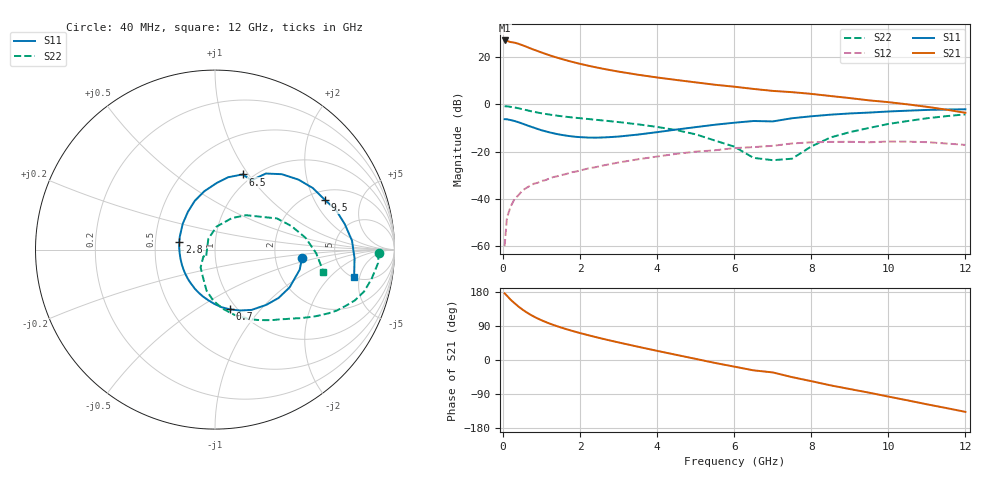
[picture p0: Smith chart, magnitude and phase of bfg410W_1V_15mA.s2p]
! Filename: 115bfg410.001
! BFG410W Field B1
! V1=9.003E-001V,V2=1.000E+000V, I1=2.653E-004A, I2=1.499E-002A
# GHz  S  MA  R 50
!  S11  S21  S12  S22
!Freq(GHz)  Mag  Ang  Mag  Ang  Mag  Ang  Mag  Ang
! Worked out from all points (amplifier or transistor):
!   44 points, 40 MHz to 12 GHz, reference 50 ohm
!   highest |S21| = 27.1 dB at 40 MHz (marker M1)
!   |S21| within 3 dB of that: start of sweep to 656.5 MHz
!   unconditionally stable (mu >= 1): start of sweep to 81.03 MHz; 1.074 GHz to end of sweep
!   at 700 MHz: K = 0.78, MSG = 29.1 dB, |S12| = -34.4 dB
!   at 2.4 GHz: K = 1.35, MAG = 17.6 dB, |S12| = -26.6 dB
!   at 12 GHz: K = 1.65, MAG = 2.1 dB, |S12| = -17.1 dB
!   S11 on the Smith chart (normalised r, x): 40 MHz: 2.85, -0.33; 700 MHz: 0.93, -0.70; 2.8 GHz: 0.67, +0.06; 6.5 GHz: 0.90, +0.94; 9.5 GHz: 2.42, +2.44; 12 GHz: 5.09, -4.13
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0.04  0.487 -5.2  22.59 176.0  0.001 74.1  0.912 -1.0
0.1  0.485 -13.3  22.09 169.7  0.004 84.5  0.912 -4.6
0.2  0.466 -26.8  20.85 158.7  0.007 77.4  0.887 -10.7
0.3  0.445 -37.3  20.29 149.7  0.01 74.2  0.863 -15.7
0.4  0.42 -47.2  19.19 141.1  0.012 70.2  0.829 -20.0
0.5  0.393 -58.7  17.92 133.3  0.015 66.6  0.792 -23.4
0.7  0.343 -76.0  15.46 120.2  0.019 62.3  0.726 -29.2
0.8  0.322 -83.9  14.4 114.6  0.021 60.9  0.697 -31.5
1  0.284 -97.8  12.55 104.8  0.024 58.6  0.649 -35.4
1.3  0.246 -116.8  10.36 92.7  0.029 56.5  0.593 -40.2
1.7  0.215 -139.3  8.339 79.6  0.035 54.4  0.541 -45.8
2.2  0.199 -164.8  6.63 65.8  0.044 51.1  0.492 -53.0
2.8  0.204 167.9  5.288 50.9  0.055 46.0  0.44 -62.1
3.5  0.23 141.5  4.255 35.1  0.069 38.3  0.379 -73.5
4.5  0.294 112.6  3.292 13.5  0.09 24.9  0.286 -91.7
5.5  0.372 88.4  2.608 -7.7  0.107 9.3  0.172 -112.5
6.5  0.446 69.9  2.128 -27.3  0.125 -5.2  0.074 -150.3
7.5  0.51 56.2  1.819 -45.2  0.149 -17.7  0.071 121.5
8.5  0.607 40.0  1.507 -66.9  0.161 -39.1  0.2 61.6
9.5  0.672 24.3  1.218 -86.2  0.158 -57.4  0.318 35.0
10.5  0.737 11.1  1.003 -106.5  0.163 -76.8  0.445 17.2
12  0.79 -11.1  0.666 -136.9  0.139 -111.2  0.617 -11.6
